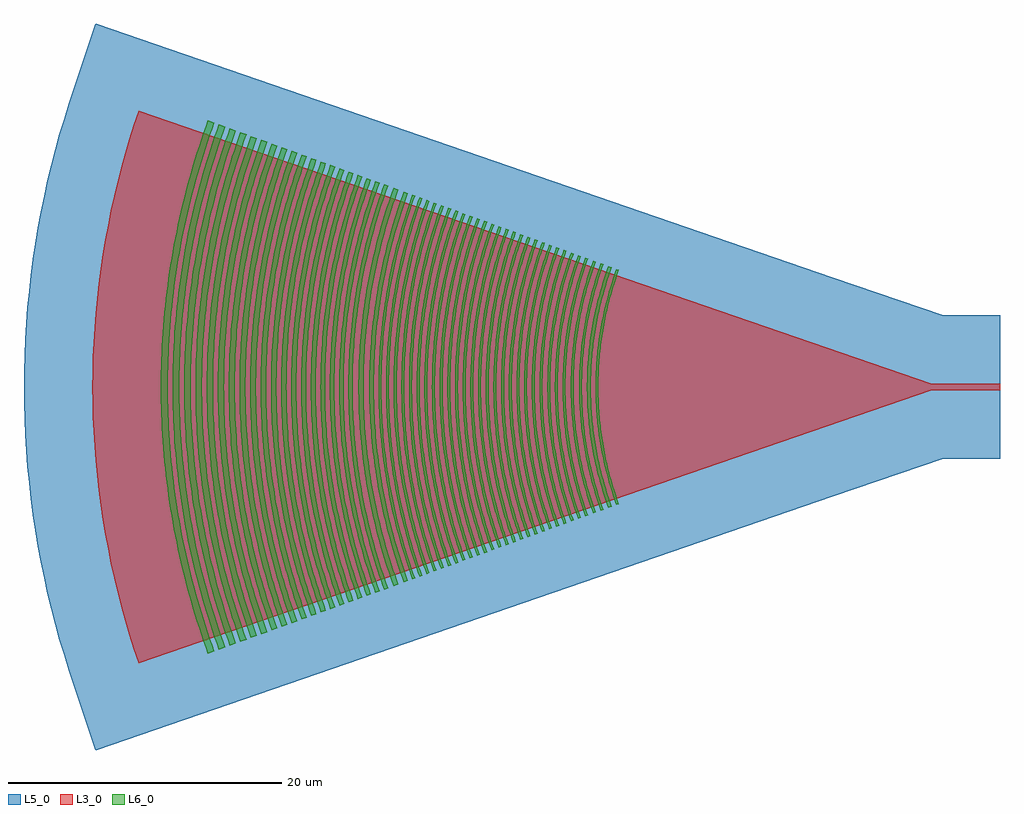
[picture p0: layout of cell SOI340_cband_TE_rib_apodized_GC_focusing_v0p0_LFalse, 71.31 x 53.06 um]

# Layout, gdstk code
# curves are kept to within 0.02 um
import gdstk
lib = gdstk.Library(unit=1e-6, precision=1e-09)
def P(c, l, *ps):  # polygons
    for p in ps: c.add(gdstk.Polygon(p, *l))
L3_0 = (3, 0)
L5_0 = (5, 0)
L6_0 = (6, 0)

soi340_cband_te_rib_apod = lib.new_cell('SOI340_cband_TE_rib_apodized_GC_focusing_v0p0_LFalse')
P(soi340_cband_te_rib_apod, L3_0, [(-62.933,-20.173),(-63.602,-18.116),(-64.198,-16.037),(-64.955,-12.883),(-65.368,-10.76),(-65.706,-8.623),(-66.073,-5.4),(-66.224,-3.243),(-66.309,0),(-66.224,3.243),(-66.073,5.4),(-65.847,7.551),(-65.368,10.76),(-64.955,12.883),(-64.198,16.037),(-63.602,18.116),(-62.933,20.173),(-5,0.225),(0,0.225),(0,-0.225),(-5,-0.225)])
P(soi340_cband_te_rib_apod, L5_0, [(-66.033,-26.528),(-66.09,-26.5),(-68.031,-20.693),(-68.716,-18.457),(-69.028,-17.33),(-69.593,-15.064),(-70.079,-12.778),(-70.292,-11.627),(-70.658,-9.319),(-70.943,-7),(-71.146,-4.671),(-71.217,-3.504),(-71.299,-1.169),(-71.309,0),(-71.299,1.169),(-71.217,3.504),(-71.146,4.671),(-70.943,7),(-70.658,9.319),(-70.485,10.474),(-70.079,12.778),(-69.593,15.064),(-69.028,17.33),(-68.716,18.457),(-68.031,20.693),(-66.09,26.5),(-66.033,26.528),(-4.163,5.225),(0,5.225),(0,-5.225),(-4.163,-5.225)])
P(soi340_cband_te_rib_apod, L6_0, [(-28.027,-8.619),(-28.381,-7.578),(-28.745,-6.31),(-29.164,-4.376),(-29.36,-3.071),(-29.451,-2.196),(-29.523,-1.099),(-29.547,0),(-29.523,1.099),(-29.451,2.196),(-29.36,3.071),(-29.164,4.376),(-28.745,6.31),(-28.381,7.578),(-28.027,8.619),(-27.839,8.551),(-28.255,7.309),(-28.551,6.26),(-28.801,5.198),(-29.039,3.911),(-29.27,1.961),(-29.347,0),(-29.27,-1.961),(-29.039,-3.911),(-28.801,-5.198),(-28.551,-6.26),(-28.255,-7.309),(-27.839,-8.551)],
  [(-28.621,-8.834),(-29.05,-7.553),(-29.298,-6.685),(-29.614,-5.371),(-29.786,-4.486),(-29.957,-3.372),(-30.08,-2.252),(-30.154,-1.126),(-30.178,0),(-30.154,1.126),(-30.08,2.252),(-29.957,3.372),(-29.786,4.486),(-29.614,5.371),(-29.298,6.685),(-29.05,7.553),(-28.621,8.834),(-28.356,8.739),(-28.714,7.683),(-29.026,6.613),(-29.291,5.53),(-29.509,4.437),(-29.678,3.335),(-29.8,2.227),(-29.873,1.114),(-29.897,0),(-29.873,-1.114),(-29.8,-2.227),(-29.678,-3.335),(-29.509,-4.437),(-29.291,-5.53),(-29.026,-6.613),(-28.714,-7.683),(-28.356,-8.739)],
  [(-29.157,-9.029),(-29.527,-7.939),(-29.849,-6.834),(-30.123,-5.714),(-30.348,-4.585),(-30.523,-3.446),(-30.648,-2.302),(-30.724,-1.152),(-30.749,0),(-30.724,1.152),(-30.648,2.302),(-30.523,3.446),(-30.348,4.585),(-30.123,5.714),(-29.849,6.834),(-29.527,7.939),(-29.157,9.029),(-28.969,8.962),(-29.404,7.661),(-29.771,6.339),(-30.068,5),(-30.261,3.873),(-30.381,2.966),(-30.485,1.828),(-30.549,0),(-30.485,-1.828),(-30.381,-2.966),(-30.261,-3.873),(-30.068,-5),(-29.771,-6.339),(-29.404,-7.661),(-28.969,-8.962)],
  [(-29.727,-9.237),(-30.106,-8.122),(-30.436,-6.991),(-30.716,-5.846),(-30.946,-4.69),(-31.125,-3.525),(-31.253,-2.354),(-31.33,-1.178),(-31.356,0),(-31.33,1.178),(-31.253,2.354),(-31.125,3.525),(-30.946,4.69),(-30.716,5.846),(-30.436,6.991),(-30.106,8.122),(-29.727,9.237),(-29.539,9.169),(-29.985,7.838),(-30.36,6.486),(-30.618,5.345),(-30.862,3.963),(-30.984,3.035),(-31.091,1.87),(-31.156,0),(-31.091,-1.87),(-30.984,-3.035),(-30.862,-3.963),(-30.618,-5.345),(-30.36,-6.486),(-29.985,-7.838),(-29.539,-9.169)],
  [(-30.287,-9.441),(-30.675,-8.301),(-31.011,-7.145),(-31.245,-6.21),(-31.533,-4.794),(-31.716,-3.603),(-31.847,-2.407),(-31.926,-1.204),(-31.952,0),(-31.926,1.204),(-31.847,2.407),(-31.716,3.603),(-31.533,4.794),(-31.245,6.21),(-31.011,7.145),(-30.675,8.301),(-30.287,9.441),(-30.099,9.373),(-30.484,8.241),(-30.879,6.862),(-31.202,5.464),(-31.415,4.287),(-31.548,3.34),(-31.668,2.15),(-31.726,1.195),(-31.752,0),(-31.726,-1.195),(-31.668,-2.15),(-31.548,-3.34),(-31.415,-4.287),(-31.202,-5.464),(-30.879,-6.862),(-30.484,-8.241),(-30.099,-9.373)],
  [(-30.815,-9.633),(-31.211,-8.47),(-31.554,-7.29),(-31.899,-5.857),(-32.086,-4.89),(-32.273,-3.676),(-32.407,-2.455),(-32.487,-1.229),(-32.514,0),(-32.487,1.229),(-32.407,2.455),(-32.273,3.676),(-32.086,4.89),(-31.899,5.857),(-31.554,7.29),(-31.211,8.47),(-30.815,9.633),(-30.627,9.565),(-31.02,8.41),(-31.423,7.002),(-31.753,5.576),(-31.97,4.375),(-32.106,3.408),(-32.228,2.194),(-32.297,0.976),(-32.314,0),(-32.297,-0.976),(-32.228,-2.194),(-32.106,-3.408),(-31.97,-4.375),(-31.753,-5.576),(-31.423,-7.002),(-31.02,-8.41),(-30.627,-9.565)],
  [(-31.332,-9.821),(-31.735,-8.635),(-32.085,-7.433),(-32.383,-6.215),(-32.628,-4.987),(-32.818,-3.748),(-32.954,-2.502),(-33.037,-1.253),(-33.064,0),(-33.037,1.253),(-32.954,2.502),(-32.818,3.748),(-32.628,4.987),(-32.383,6.215),(-32.085,7.433),(-31.735,8.635),(-31.332,9.821),(-31.144,9.753),(-31.618,8.338),(-31.956,7.14),(-32.292,5.685),(-32.513,4.461),(-32.681,3.228),(-32.776,2.237),(-32.847,0.995),(-32.864,0),(-32.847,-0.995),(-32.776,-2.237),(-32.681,-3.228),(-32.513,-4.461),(-32.292,-5.685),(-31.956,-7.14),(-31.618,-8.338),(-31.144,-9.753)],
  [(-31.869,-10.017),(-32.28,-8.807),(-32.637,-7.581),(-32.94,-6.339),(-33.19,-5.086),(-33.384,-3.823),(-33.523,-2.552),(-33.607,-1.278),(-33.635,0),(-33.607,1.278),(-33.523,2.552),(-33.384,3.823),(-33.19,5.086),(-32.94,6.339),(-32.637,7.581),(-32.28,8.807),(-31.869,10.017),(-31.681,9.949),(-32.089,8.747),(-32.508,7.283),(-32.851,5.799),(-33.077,4.55),(-33.248,3.293),(-33.345,2.282),(-33.407,1.269),(-33.435,0),(-33.407,-1.269),(-33.345,-2.282),(-33.248,-3.293),(-33.077,-4.55),(-32.851,-5.799),(-32.508,-7.283),(-32.089,-8.747),(-31.681,-9.949)],
  [(-32.409,-10.213),(-32.827,-8.979),(-33.192,-7.729),(-33.501,-6.464),(-33.755,-5.186),(-33.953,-3.898),(-34.095,-2.603),(-34.181,-1.303),(-34.209,0),(-34.181,1.303),(-34.095,2.603),(-33.953,3.898),(-33.755,5.186),(-33.501,6.464),(-33.192,7.729),(-32.827,8.979),(-32.409,10.213),(-32.214,10.143),(-32.706,8.67),(-33.057,7.425),(-33.407,5.912),(-33.637,4.639),(-33.781,3.614),(-33.911,2.327),(-33.974,1.294),(-34.002,0),(-33.974,-1.294),(-33.911,-2.327),(-33.781,-3.614),(-33.637,-4.639),(-33.407,-5.912),(-33.057,-7.425),(-32.706,-8.67),(-32.214,-10.143)],
  [(-32.933,-10.404),(-33.359,-9.147),(-33.73,-7.874),(-34.046,-6.585),(-34.305,-5.283),(-34.506,-3.971),(-34.651,-2.651),(-34.738,-1.327),(-34.767,0),(-34.738,1.327),(-34.651,2.651),(-34.506,3.971),(-34.305,5.283),(-34.046,6.585),(-33.73,7.874),(-33.359,9.147),(-32.933,10.404),(-32.745,10.336),(-33.247,8.835),(-33.604,7.566),(-33.907,6.283),(-34.195,4.727),(-34.342,3.683),(-34.474,2.371),(-34.549,1.055),(-34.567,0),(-34.549,-1.055),(-34.474,-2.371),(-34.342,-3.683),(-34.195,-4.727),(-33.907,-6.283),(-33.604,-7.566),(-33.247,-8.835),(-32.745,-10.336)],
  [(-33.45,-10.592),(-33.885,-9.313),(-34.263,-8.016),(-34.584,-6.704),(-34.848,-5.378),(-35.053,-4.042),(-35.2,-2.7),(-35.289,-1.351),(-35.318,0),(-35.289,1.351),(-35.2,2.7),(-35.053,4.042),(-34.848,5.378),(-34.584,6.704),(-34.263,8.016),(-33.885,9.313),(-33.45,10.592),(-33.261,10.524),(-33.693,9.253),(-34.137,7.704),(-34.445,6.397),(-34.738,4.813),(-34.888,3.75),(-35.022,2.414),(-35.088,1.342),(-35.117,0),(-35.088,-1.342),(-35.022,-2.414),(-34.888,-3.75),(-34.738,-4.813),(-34.445,-6.397),(-34.137,-7.704),(-33.693,-9.253),(-33.261,-10.524)],
  [(-33.983,-10.785),(-34.425,-9.483),(-34.811,-8.162),(-35.138,-6.826),(-35.406,-5.476),(-35.615,-4.117),(-35.765,-2.749),(-35.855,-1.376),(-35.885,0),(-35.855,1.376),(-35.765,2.749),(-35.615,4.117),(-35.406,5.476),(-35.138,6.826),(-34.811,8.162),(-34.425,9.483),(-33.983,10.785),(-33.779,10.712),(-34.218,9.418),(-34.67,7.842),(-34.984,6.512),(-35.282,4.9),(-35.435,3.817),(-35.571,2.457),(-35.649,1.093),(-35.668,0),(-35.649,-1.093),(-35.571,-2.457),(-35.435,-3.817),(-35.282,-4.9),(-34.984,-6.512),(-34.67,-7.842),(-34.218,-9.418),(-33.779,-10.712)],
  [(-34.513,-10.978),(-34.963,-9.654),(-35.355,-8.308),(-35.688,-6.948),(-35.962,-5.574),(-36.174,-4.19),(-36.327,-2.798),(-36.419,-1.401),(-36.449,0),(-36.419,1.401),(-36.327,2.798),(-36.174,4.19),(-35.962,5.574),(-35.688,6.948),(-35.355,8.308),(-34.963,9.654),(-34.513,10.978),(-34.312,10.906),(-34.842,9.323),(-35.219,7.984),(-35.595,6.357),(-35.842,4.988),(-36.03,3.61),(-36.137,2.502),(-36.216,1.113),(-36.235,0),(-36.216,-1.113),(-36.137,-2.502),(-36.03,-3.61),(-35.842,-4.988),(-35.595,-6.357),(-35.219,-7.984),(-34.842,-9.323),(-34.312,-10.906)],
  [(-35.04,-11.171),(-35.498,-9.822),(-35.897,-8.453),(-36.236,-7.07),(-36.514,-5.671),(-36.73,-4.264),(-36.886,-2.846),(-36.979,-1.425),(-37.01,0),(-36.979,1.425),(-36.886,2.846),(-36.73,4.264),(-36.514,5.671),(-36.236,7.07),(-35.897,8.453),(-35.498,9.822),(-35.04,11.171),(-34.842,11.099),(-35.297,9.759),(-35.765,8.125),(-36.148,6.47),(-36.399,5.077),(-36.557,3.955),(-36.699,2.546),(-36.768,1.416),(-36.799,0),(-36.768,-1.416),(-36.699,-2.546),(-36.557,-3.955),(-36.399,-5.077),(-36.148,-6.47),(-35.765,-8.125),(-35.297,-9.759),(-34.842,-11.099)],
  [(-35.571,-11.363),(-36.037,-9.992),(-36.443,-8.6),(-36.787,-7.192),(-37.07,-5.77),(-37.291,-4.337),(-37.448,-2.896),(-37.544,-1.449),(-37.575,0),(-37.544,1.449),(-37.448,2.896),(-37.291,4.337),(-37.07,5.77),(-36.787,7.192),(-36.443,8.6),(-36.037,9.992),(-35.571,11.363),(-35.369,11.291),(-35.832,9.927),(-36.308,8.266),(-36.639,6.864),(-36.954,5.164),(-37.148,3.737),(-37.258,2.59),(-37.329,1.44),(-37.36,0),(-37.329,-1.44),(-37.258,-2.59),(-37.148,-3.737),(-36.954,-5.164),(-36.639,-6.864),(-36.308,-8.266),(-35.832,-9.927),(-35.369,-11.291)],
  [(-36.093,-11.553),(-36.567,-10.159),(-36.979,-8.744),(-37.329,-7.312),(-37.617,-5.866),(-37.841,-4.41),(-38.001,-2.945),(-38.098,-1.474),(-38.13,0),(-38.098,1.474),(-38.001,2.945),(-37.841,4.41),(-37.617,5.866),(-37.329,7.312),(-36.979,8.744),(-36.567,10.159),(-36.093,11.553),(-35.9,11.484),(-36.458,9.817),(-36.855,8.407),(-37.251,6.694),(-37.512,5.253),(-37.675,4.092),(-37.821,2.634),(-37.905,1.172),(-37.925,0),(-37.905,-1.172),(-37.821,-2.634),(-37.675,-4.092),(-37.512,-5.253),(-37.251,-6.694),(-36.855,-8.407),(-36.458,-9.817),(-35.9,-11.484)],
  [(-36.624,-11.746),(-37.104,-10.329),(-37.524,-8.889),(-37.88,-7.434),(-38.172,-5.964),(-38.4,-4.483),(-38.563,-2.994),(-38.662,-1.498),(-38.694,0),(-38.662,1.498),(-38.563,2.994),(-38.4,4.483),(-38.172,5.964),(-37.88,7.434),(-37.524,8.889),(-37.104,10.329),(-36.624,11.746),(-36.422,11.674),(-36.989,9.98),(-37.393,8.546),(-37.795,6.805),(-38.06,5.34),(-38.226,4.16),(-38.375,2.678),(-38.448,1.489),(-38.48,0),(-38.448,-1.489),(-38.375,-2.678),(-38.226,-4.16),(-38.06,-5.34),(-37.795,-6.805),(-37.393,-8.546),(-36.989,-9.98),(-36.422,-11.674)],
  [(-37.15,-11.938),(-37.638,-10.497),(-38.065,-9.034),(-38.427,-7.555),(-38.724,-6.061),(-38.955,-4.556),(-39.121,-3.042),(-39.221,-1.522),(-39.254,0),(-39.221,1.522),(-39.121,3.042),(-38.955,4.556),(-38.724,6.061),(-38.427,7.555),(-38.065,9.034),(-37.638,10.497),(-37.15,11.938),(-36.952,11.867),(-37.438,10.434),(-37.939,8.687),(-38.286,7.214),(-38.617,5.428),(-38.821,3.928),(-38.937,2.722),(-39.023,1.211),(-39.044,0),(-39.023,-1.211),(-38.937,-2.722),(-38.821,-3.928),(-38.617,-5.428),(-38.286,-7.214),(-37.939,-8.687),(-37.438,-10.434),(-36.952,-11.867)],
  [(-37.678,-12.131),(-38.175,-10.666),(-38.609,-9.18),(-38.976,-7.677),(-39.278,-6.159),(-39.513,-4.63),(-39.682,-3.091),(-39.783,-1.547),(-39.817,0),(-39.783,1.547),(-39.682,3.091),(-39.513,4.63),(-39.278,6.159),(-38.976,7.677),(-38.609,9.18),(-38.175,10.666),(-37.678,12.131),(-37.478,12.059),(-37.972,10.602),(-38.481,8.828),(-38.834,7.33),(-39.17,5.515),(-39.341,4.297),(-39.495,2.766),(-39.583,1.23),(-39.604,0),(-39.583,-1.23),(-39.495,-2.766),(-39.341,-4.297),(-39.17,-5.515),(-38.834,-7.33),(-38.481,-8.828),(-37.972,-10.602),(-37.478,-12.059)],
  [(-38.206,-12.322),(-38.71,-10.834),(-39.15,-9.326),(-39.524,-7.799),(-39.831,-6.257),(-40.07,-4.703),(-40.241,-3.141),(-40.344,-1.571),(-40.378,0),(-40.344,1.571),(-40.241,3.141),(-40.07,4.703),(-39.831,6.257),(-39.524,7.799),(-39.15,9.326),(-38.71,10.834),(-38.206,12.322),(-38.007,12.251),(-38.602,10.473),(-39.026,8.969),(-39.448,7.141),(-39.726,5.603),(-39.937,4.055),(-40.057,2.81),(-40.133,1.562),(-40.167,0),(-40.133,-1.562),(-40.057,-2.81),(-39.937,-4.055),(-39.726,-5.603),(-39.448,-7.141),(-39.026,-8.969),(-38.602,-10.473),(-38.007,-12.251)],
  [(-38.732,-12.514),(-39.244,-11.003),(-39.691,-9.47),(-40.071,-7.919),(-40.382,-6.353),(-40.625,-4.776),(-40.799,-3.189),(-40.903,-1.596),(-40.938,0),(-40.903,1.596),(-40.799,3.189),(-40.625,4.776),(-40.382,6.353),(-40.071,7.919),(-39.691,9.47),(-39.244,11.003),(-38.732,12.514),(-38.534,12.443),(-39.044,10.94),(-39.569,9.109),(-39.998,7.253),(-40.28,5.691),(-40.457,4.434),(-40.616,2.854),(-40.706,1.27),(-40.728,0),(-40.706,-1.27),(-40.616,-2.854),(-40.457,-4.434),(-40.28,-5.691),(-39.998,-7.253),(-39.569,-9.109),(-39.044,-10.94),(-38.534,-12.443)],
  [(-39.26,-12.707),(-39.78,-11.172),(-40.234,-9.616),(-40.619,-8.041),(-40.936,-6.452),(-41.182,-4.85),(-41.358,-3.238),(-41.465,-1.62),(-41.5,0),(-41.465,1.62),(-41.358,3.238),(-41.182,4.85),(-40.936,6.452),(-40.619,8.041),(-40.234,9.616),(-39.78,11.172),(-39.26,12.707),(-39.06,12.635),(-39.674,10.801),(-40.111,9.249),(-40.481,7.68),(-40.833,5.779),(-41.051,4.182),(-41.174,2.898),(-41.253,1.611),(-41.288,0),(-41.253,-1.611),(-41.174,-2.898),(-41.051,-4.182),(-40.833,-5.779),(-40.481,-7.68),(-40.111,-9.249),(-39.674,-10.801),(-39.06,-12.635)],
  [(-39.782,-12.897),(-40.31,-11.339),(-40.771,-9.759),(-41.162,-8.161),(-41.483,-6.548),(-41.733,-4.922),(-41.912,-3.287),(-42.02,-1.645),(-42.056,0),(-42.02,1.645),(-41.912,3.287),(-41.733,4.922),(-41.483,6.548),(-41.162,8.161),(-40.771,9.759),(-40.31,11.339),(-39.782,12.897),(-39.588,12.827),(-40.211,10.965),(-40.655,9.39),(-41.097,7.477),(-41.388,5.867),(-41.609,4.245),(-41.734,2.942),(-41.827,1.309),(-41.85,0),(-41.827,-1.309),(-41.734,-2.942),(-41.609,-4.245),(-41.388,-5.867),(-41.097,-7.477),(-40.655,-9.39),(-40.211,-10.965),(-39.588,-12.827)],
  [(-40.308,-13.087),(-40.844,-11.508),(-41.311,-9.904),(-41.708,-8.282),(-42.034,-6.645),(-42.287,-4.995),(-42.469,-3.335),(-42.579,-1.669),(-42.615,0),(-42.579,1.669),(-42.469,3.335),(-42.287,4.995),(-42.034,6.645),(-41.708,8.282),(-41.311,9.904),(-40.844,11.508),(-40.308,13.087),(-40.111,13.017),(-40.645,11.445),(-41.194,9.529),(-41.642,7.588),(-41.937,5.954),(-42.122,4.638),(-42.289,2.986),(-42.37,1.66),(-42.406,0),(-42.37,-1.66),(-42.289,-2.986),(-42.122,-4.638),(-41.937,-5.954),(-41.642,-7.588),(-41.194,-9.529),(-40.645,-11.445),(-40.111,-13.017)],
  [(-40.837,-13.28),(-41.382,-11.677),(-41.856,-10.051),(-42.259,-8.404),(-42.589,-6.743),(-42.847,-5.069),(-43.031,-3.385),(-43.142,-1.693),(-43.179,0),(-43.142,1.693),(-43.031,3.385),(-42.847,5.069),(-42.589,6.743),(-42.259,8.404),(-41.856,10.051),(-41.382,11.677),(-40.837,13.28),(-40.636,13.208),(-41.278,11.291),(-41.735,9.669),(-42.19,7.699),(-42.49,6.041),(-42.717,4.372),(-42.846,3.03),(-42.928,1.684),(-42.965,0),(-42.928,-1.684),(-42.846,-3.03),(-42.717,-4.372),(-42.49,-6.041),(-42.19,-7.699),(-41.735,-9.669),(-41.278,-11.291),(-40.636,-13.208)],
  [(-41.354,-13.469),(-41.907,-11.842),(-42.387,-10.193),(-42.795,-8.524),(-43.131,-6.839),(-43.392,-5.14),(-43.579,-3.432),(-43.692,-1.718),(-43.729,0),(-43.692,1.718),(-43.579,3.432),(-43.392,5.14),(-43.131,6.839),(-42.795,8.524),(-42.387,10.193),(-41.907,11.842),(-41.354,13.469),(-41.166,13.401),(-41.716,11.782),(-42.281,9.81),(-42.673,8.146),(-43.047,6.129),(-43.237,4.775),(-43.408,3.074),(-43.492,1.709),(-43.529,0),(-43.492,-1.709),(-43.408,-3.074),(-43.237,-4.775),(-43.047,-6.129),(-42.673,-8.146),(-42.281,-9.81),(-41.716,-11.782),(-41.166,-13.401)],
  [(-41.892,-13.664),(-42.452,-12.015),(-42.939,-10.34),(-43.354,-8.648),(-43.694,-6.937),(-43.959,-5.215),(-44.149,-3.483),(-44.263,-1.743),(-44.301,0),(-44.263,1.743),(-44.149,3.483),(-43.959,5.215),(-43.694,6.937),(-43.354,8.648),(-42.939,10.34),(-42.452,12.015),(-41.892,13.664),(-41.683,13.589),(-42.343,11.617),(-42.813,9.948),(-43.211,8.261),(-43.59,6.215),(-43.824,4.498),(-43.957,3.117),(-44.055,1.387),(-44.079,0),(-44.055,-1.387),(-43.957,-3.117),(-43.824,-4.498),(-43.59,-6.215),(-43.211,-8.261),(-42.813,-9.948),(-42.343,-11.617),(-41.683,-13.589)],
  [(-42.408,-13.853),(-42.977,-12.18),(-43.471,-10.483),(-43.891,-8.766),(-44.236,-7.034),(-44.504,-5.287),(-44.697,-3.531),(-44.813,-1.767),(-44.851,0),(-44.813,1.767),(-44.697,3.531),(-44.504,5.287),(-44.236,7.034),(-43.891,8.766),(-43.471,10.483),(-42.977,12.18),(-42.408,13.853),(-42.22,13.785),(-42.786,12.12),(-43.367,10.091),(-43.842,8.035),(-44.155,6.305),(-44.351,4.912),(-44.527,3.162),(-44.613,1.758),(-44.651,0),(-44.613,-1.758),(-44.527,-3.162),(-44.351,-4.912),(-44.155,-6.305),(-43.842,-8.035),(-43.367,-10.091),(-42.786,-12.12),(-42.22,-13.785)],
  [(-42.925,-14.041),(-43.501,-12.345),(-44.002,-10.626),(-44.428,-8.885),(-44.777,-7.129),(-45.049,-5.359),(-45.245,-3.578),(-45.362,-1.791),(-45.401,0),(-45.362,1.791),(-45.245,3.578),(-45.049,5.359),(-44.777,7.129),(-44.428,8.885),(-44.002,10.626),(-43.501,12.345),(-42.925,14.041),(-42.737,13.973),(-43.416,11.945),(-43.9,10.229),(-44.308,8.494),(-44.641,6.743),(-44.851,5.333),(-45.046,3.561),(-45.162,1.782),(-45.201,0),(-45.162,-1.782),(-45.046,-3.561),(-44.851,-5.333),(-44.641,-6.743),(-44.308,-8.494),(-43.9,-10.229),(-43.416,-11.945),(-42.737,-13.973)],
  [(-43.566,-14.273),(-44.151,-12.549),(-44.66,-10.802),(-45.093,-9.032),(-45.448,-7.247),(-45.725,-5.447),(-45.923,-3.638),(-46.043,-1.821),(-46.082,0),(-46.043,1.821),(-45.923,3.638),(-45.725,5.447),(-45.448,7.247),(-45.093,9.032),(-44.66,10.802),(-44.151,12.549),(-43.566,14.273),(-43.254,14.161),(-43.942,12.105),(-44.521,10.017),(-44.92,8.255),(-45.296,6.12),(-45.485,4.687),(-45.65,2.888),(-45.726,1.445),(-45.751,0),(-45.726,-1.445),(-45.65,-2.888),(-45.485,-4.687),(-45.296,-6.12),(-44.92,-8.255),(-44.521,-10.017),(-43.942,-12.105),(-43.254,-14.161)],
  [(-44.31,-14.543),(-44.906,-12.788),(-45.425,-11.006),(-45.866,-9.204),(-46.228,-7.384),(-46.51,-5.551),(-46.713,-3.707),(-46.834,-1.855),(-46.874,0),(-46.834,1.855),(-46.713,3.707),(-46.51,5.551),(-46.228,7.384),(-45.866,9.204),(-45.425,11.006),(-44.906,12.788),(-44.31,14.543),(-43.956,14.416),(-44.656,12.324),(-45.246,10.197),(-45.724,8.043),(-46.035,6.23),(-46.227,4.772),(-46.368,3.307),(-46.458,1.839),(-46.498,0),(-46.458,-1.839),(-46.368,-3.307),(-46.227,-4.772),(-46.035,-6.23),(-45.724,-8.043),(-45.246,-10.197),(-44.656,-12.324),(-43.956,-14.416)],
  [(-45.005,-14.796),(-45.611,-13.01),(-46.138,-11.198),(-46.588,-9.365),(-46.955,-7.513),(-47.243,-5.647),(-47.449,-3.772),(-47.572,-1.888),(-47.613,0),(-47.572,1.888),(-47.449,3.772),(-47.243,5.647),(-46.955,7.513),(-46.588,9.365),(-46.138,11.198),(-45.611,13.01),(-45.005,14.796),(-44.709,14.69),(-45.311,12.916),(-45.931,10.754),(-46.437,8.563),(-46.77,6.719),(-46.979,5.235),(-47.167,3.37),(-47.273,1.499),(-47.299,0),(-47.273,-1.499),(-47.167,-3.37),(-46.979,-5.235),(-46.77,-6.719),(-46.437,-8.563),(-45.931,-10.754),(-45.311,-12.916),(-44.709,-14.69)],
  [(-45.631,-15.024),(-46.245,-13.211),(-46.782,-11.371),(-47.237,-9.509),(-47.611,-7.629),(-47.903,-5.734),(-48.112,-3.829),(-48.237,-1.917),(-48.279,0),(-48.237,1.917),(-48.112,3.829),(-47.903,5.734),(-47.611,7.629),(-47.237,9.509),(-46.782,11.371),(-46.245,13.211),(-45.631,15.024),(-45.333,14.918),(-45.944,13.116),(-46.574,10.921),(-47.01,9.068),(-47.426,6.823),(-47.683,4.937),(-47.829,3.422),(-47.936,1.522),(-47.963,0),(-47.936,-1.522),(-47.829,-3.422),(-47.683,-4.937),(-47.426,-6.823),(-47.01,-9.068),(-46.574,-10.921),(-45.944,-13.116),(-45.333,-14.918)],
  [(-46.271,-15.258),(-46.896,-13.416),(-47.441,-11.547),(-47.903,-9.656),(-48.283,-7.748),(-48.579,-5.824),(-48.791,-3.888),(-48.919,-1.946),(-48.961,0),(-48.919,1.946),(-48.791,3.888),(-48.579,5.824),(-48.283,7.748),(-47.903,9.656),(-47.441,11.547),(-46.896,13.416),(-46.271,15.258),(-45.964,15.147),(-46.7,12.949),(-47.224,11.089),(-47.746,8.83),(-48.09,6.928),(-48.305,5.397),(-48.498,3.475),(-48.593,1.932),(-48.635,0),(-48.593,-1.932),(-48.498,-3.475),(-48.305,-5.397),(-48.09,-6.928),(-47.746,-8.83),(-47.224,-11.089),(-46.7,-12.949),(-45.964,-15.147)],
  [(-46.915,-15.492),(-47.551,-13.622),(-48.104,-11.724),(-48.573,-9.804),(-48.959,-7.866),(-49.259,-5.913),(-49.475,-3.948),(-49.604,-1.976),(-49.647,0),(-49.604,1.976),(-49.475,3.948),(-49.259,5.913),(-48.959,7.866),(-48.573,9.804),(-48.104,11.724),(-47.551,13.622),(-46.915,15.492),(-46.601,15.379),(-47.232,13.522),(-47.881,11.259),(-48.41,8.965),(-48.759,7.034),(-48.978,5.48),(-49.174,3.528),(-49.286,1.569),(-49.313,0),(-49.286,-1.569),(-49.174,-3.528),(-48.978,-5.48),(-48.759,-7.034),(-48.41,-8.965),(-47.881,-11.259),(-47.232,-13.522),(-46.601,-15.379)],
  [(-47.574,-15.732),(-48.219,-13.832),(-48.781,-11.906),(-49.258,-9.956),(-49.649,-7.988),(-49.954,-6.005),(-50.173,-4.009),(-50.305,-2.006),(-50.348,0),(-50.305,2.006),(-50.173,4.009),(-49.954,6.005),(-49.649,7.988),(-49.258,9.956),(-48.781,11.906),(-48.219,13.832),(-47.574,15.732),(-47.244,15.613),(-47.884,13.727),(-48.543,11.43),(-49.081,9.101),(-49.496,6.747),(-49.704,5.168),(-49.886,3.184),(-49.969,1.593),(-49.997,0),(-49.969,-1.593),(-49.886,-3.184),(-49.704,-5.168),(-49.496,-6.747),(-49.081,-9.101),(-48.543,-11.43),(-47.884,-13.727),(-47.244,-15.613)],
  [(-48.243,-15.974),(-48.897,-14.046),(-49.468,-12.09),(-49.951,-10.11),(-50.35,-8.111),(-50.659,-6.097),(-50.882,-4.071),(-51.015,-2.038),(-51.059,0),(-51.015,2.038),(-50.882,4.071),(-50.659,6.097),(-50.35,8.111),(-49.951,10.11),(-49.468,12.09),(-48.897,14.046),(-48.243,15.974),(-47.904,15.853),(-48.674,13.552),(-49.223,11.606),(-49.768,9.241),(-50.19,6.851),(-50.401,5.247),(-50.556,3.637),(-50.671,1.618),(-50.699,0),(-50.671,-1.618),(-50.556,-3.637),(-50.401,-5.247),(-50.19,-6.851),(-49.768,-9.241),(-49.223,-11.606),(-48.674,-13.552),(-47.904,-15.853)],
  [(-48.921,-16.222),(-49.586,-14.264),(-50.164,-12.277),(-50.656,-10.267),(-51.06,-8.237),(-51.375,-6.191),(-51.601,-4.135),(-51.736,-2.069),(-51.781,0),(-51.736,2.069),(-51.601,4.135),(-51.375,6.191),(-51.06,8.237),(-50.656,10.267),(-50.164,12.277),(-49.586,14.264),(-48.921,16.222),(-48.571,16.096),(-49.353,13.76),(-49.91,11.783),(-50.381,9.785),(-50.83,7.362),(-51.058,5.735),(-51.264,3.692),(-51.364,2.053),(-51.409,0),(-51.364,-2.053),(-51.264,-3.692),(-51.058,-5.735),(-50.83,-7.362),(-50.381,-9.785),(-49.91,-11.783),(-49.353,-13.76),(-48.571,-16.096)],
  [(-49.61,-16.473),(-50.285,-14.485),(-50.874,-12.466),(-51.373,-10.425),(-51.783,-8.365),(-52.103,-6.287),(-52.332,-4.199),(-52.47,-2.101),(-52.515,0),(-52.47,2.101),(-52.332,4.199),(-52.103,6.287),(-51.783,8.365),(-51.373,10.425),(-50.874,12.466),(-50.285,14.485),(-49.61,16.473),(-49.249,16.343),(-50.043,13.971),(-50.609,11.964),(-51.172,9.527),(-51.543,7.475),(-51.775,5.823),(-51.984,3.749),(-52.086,2.084),(-52.131,0),(-52.086,-2.084),(-51.984,-3.749),(-51.824,-5.409),(-51.543,-7.475),(-51.172,-9.527),(-50.609,-11.964),(-50.043,-13.971),(-49.249,-16.343)],
  [(-50.311,-16.728),(-50.996,-14.709),(-51.593,-12.66),(-52.101,-10.587),(-52.517,-8.494),(-52.842,-6.384),(-53.074,-4.263),(-53.214,-2.133),(-53.26,0),(-53.214,2.133),(-53.074,4.263),(-52.842,6.384),(-52.517,8.494),(-52.101,10.587),(-51.593,12.66),(-50.996,14.709),(-50.311,16.728),(-49.939,16.594),(-50.745,14.185),(-51.32,12.148),(-51.891,9.673),(-52.332,7.171),(-52.553,5.492),(-52.747,3.384),(-52.835,1.693),(-52.865,0),(-52.835,-1.693),(-52.747,-3.384),(-52.553,-5.492),(-52.332,-7.171),(-51.891,-9.673),(-51.32,-12.148),(-50.745,-14.185),(-49.939,-16.594)],
  [(-51.021,-16.986),(-51.717,-14.936),(-52.323,-12.855),(-52.838,-10.751),(-53.262,-8.625),(-53.592,-6.483),(-53.827,-4.329),(-53.969,-2.167),(-54.016,0),(-53.969,2.167),(-53.827,4.329),(-53.592,6.483),(-53.262,8.625),(-52.838,10.751),(-52.323,12.855),(-51.717,14.936),(-51.021,16.986),(-50.64,16.849),(-51.458,14.403),(-52.148,11.918),(-52.706,9.4),(-53.07,7.282),(-53.341,5.149),(-53.491,3.436),(-53.581,1.719),(-53.611,0),(-53.581,-1.719),(-53.491,-3.436),(-53.341,-5.149),(-53.07,-7.282),(-52.706,-9.4),(-52.148,-11.918),(-51.458,-14.403),(-50.64,-16.849)],
  [(-51.74,-17.249),(-52.448,-15.166),(-53.064,-13.054),(-53.586,-10.916),(-54.016,-8.758),(-54.35,-6.583),(-54.59,-4.395),(-54.734,-2.201),(-54.782,0),(-54.734,2.201),(-54.59,4.395),(-54.35,6.583),(-54.016,8.758),(-53.586,10.916),(-53.064,13.054),(-52.448,15.166),(-51.74,17.249),(-51.349,17.108),(-52.051,15.041),(-52.773,12.524),(-53.362,9.972),(-53.817,7.393),(-54.044,5.662),(-54.212,3.924),(-54.336,1.746),(-54.366,0),(-54.336,-1.746),(-54.212,-3.924),(-54.044,-5.662),(-53.817,-7.393),(-53.362,-9.972),(-52.773,-12.524),(-52.051,-15.041),(-51.349,-17.108)],
  [(-52.471,-17.514),(-53.189,-15.4),(-53.815,-13.254),(-54.345,-11.085),(-54.781,-8.893),(-55.121,-6.684),(-55.364,-4.463),(-55.511,-2.234),(-55.559,0),(-55.511,2.234),(-55.364,4.463),(-55.121,6.684),(-54.781,8.893),(-54.345,11.085),(-53.815,13.254),(-53.189,15.4),(-52.471,17.514),(-52.069,17.369),(-52.782,15.271),(-53.514,12.716),(-54.112,10.125),(-54.574,7.507),(-54.806,5.749),(-55.008,3.543),(-55.101,1.772),(-55.132,0),(-55.101,-1.772),(-55.008,-3.543),(-54.806,-5.749),(-54.574,-7.507),(-54.112,-10.125),(-53.514,-12.716),(-52.782,-15.271),(-52.069,-17.369)],
  [(-53.211,-17.783),(-53.941,-15.637),(-54.575,-13.458),(-55.115,-11.255),(-55.557,-9.03),(-55.902,-6.787),(-56.149,-4.532),(-56.298,-2.268),(-56.347,0),(-56.298,2.268),(-56.149,4.532),(-55.902,6.787),(-55.557,9.03),(-55.115,11.255),(-54.575,13.458),(-53.941,15.637),(-53.211,17.783),(-52.799,17.635),(-53.523,15.505),(-54.267,12.91),(-54.874,10.28),(-55.343,7.621),(-55.578,5.837),(-55.75,4.046),(-55.878,1.799),(-55.909,0),(-55.878,-1.799),(-55.75,-4.046),(-55.578,-5.837),(-55.343,-7.621),(-54.874,-10.28),(-54.267,-12.91),(-53.523,-15.505),(-52.799,-17.635)],
  [(-53.963,-18.056),(-54.702,-15.877),(-55.347,-13.665),(-55.894,-11.428),(-56.344,-9.168),(-56.694,-6.891),(-56.945,-4.602),(-57.096,-2.303),(-57.146,0),(-57.096,2.303),(-56.945,4.602),(-56.694,6.891),(-56.344,9.168),(-55.894,11.428),(-55.347,13.665),(-54.702,15.877),(-53.963,18.056),(-53.54,17.905),(-54.41,15.306),(-55.03,13.107),(-55.646,10.437),(-56.122,7.738),(-56.36,5.926),(-56.536,4.107),(-56.665,1.827),(-56.697,0),(-56.665,-1.827),(-56.536,-4.107),(-56.36,-5.926),(-56.122,-7.738),(-55.646,-10.437),(-55.03,-13.107),(-54.41,-15.306),(-53.54,-17.905)],
  [(-54.724,-18.333),(-55.475,-16.12),(-56.129,-13.875),(-56.685,-11.604),(-57.142,-9.309),(-57.497,-6.997),(-57.752,-4.672),(-57.905,-2.338),(-57.956,0),(-57.905,2.338),(-57.752,4.672),(-57.497,6.997),(-57.142,9.309),(-56.685,11.604),(-56.129,13.875),(-55.475,16.12),(-54.724,18.333),(-54.291,18.178),(-55.174,15.539),(-55.803,13.307),(-56.429,10.596),(-56.912,7.856),(-57.205,5.556),(-57.367,3.707),(-57.464,1.855),(-57.496,0),(-57.464,-1.855),(-57.367,-3.707),(-57.205,-5.556),(-56.912,-7.856),(-56.429,-10.596),(-55.803,-13.307),(-55.174,-15.539),(-54.291,-18.178)],
  [(-55.495,-18.614),(-56.258,-16.368),(-56.922,-14.088),(-57.487,-11.781),(-57.95,-9.452),(-58.311,-7.104),(-58.57,-4.744),(-58.726,-2.375),(-58.777,0),(-58.726,2.375),(-58.57,4.744),(-58.311,7.104),(-57.95,9.452),(-57.487,11.781),(-56.922,14.088),(-56.258,16.368),(-55.495,18.614),(-55.052,18.455),(-55.948,15.776),(-56.703,13.054),(-57.315,10.296),(-57.713,7.976),(-57.959,6.108),(-58.175,3.764),(-58.273,1.883),(-58.306,0),(-58.273,-1.883),(-58.175,-3.764),(-57.959,-6.108),(-57.713,-7.976),(-57.315,-10.296),(-56.703,-13.054),(-55.948,-15.776),(-55.052,-18.455)],
  [(-56.277,-18.899),(-57.052,-16.618),(-57.726,-14.303),(-58.299,-11.961),(-58.77,-9.596),(-59.136,-7.213),(-59.399,-4.816),(-59.557,-2.41),(-59.609,0),(-59.557,2.41),(-59.399,4.816),(-59.136,7.213),(-58.77,9.596),(-58.299,11.961),(-57.726,14.303),(-57.052,16.618),(-56.277,18.899),(-55.823,18.736),(-56.733,16.016),(-57.5,13.252),(-58.121,10.453),(-58.525,8.097),(-58.775,6.201),(-58.994,3.821),(-59.094,1.912),(-59.127,0),(-59.094,-1.912),(-58.994,-3.821),(-58.775,-6.201),(-58.525,-8.097),(-58.121,-10.453),(-57.5,-13.252),(-56.733,-16.016),(-55.823,-18.736)],
  [(-57.07,-19.187),(-57.856,-16.872),(-58.541,-14.521),(-59.123,-12.144),(-59.601,-9.743),(-59.973,-7.323),(-60.239,-4.89),(-60.4,-2.447),(-60.453,0),(-60.4,2.447),(-60.239,4.89),(-59.973,7.323),(-59.601,9.743),(-59.123,12.144),(-58.541,14.521),(-57.856,16.872),(-57.07,19.187),(-56.605,19.02),(-57.385,16.723),(-58.188,13.924),(-58.843,11.087),(-59.348,8.22),(-59.602,6.295),(-59.824,3.879),(-59.925,1.941),(-59.959,0),(-59.925,-1.941),(-59.824,-3.879),(-59.602,-6.295),(-59.348,-8.22),(-58.843,-11.087),(-58.188,-13.924),(-57.385,-16.723),(-56.605,-19.02)],
  [(-57.874,-19.48),(-58.673,-17.129),(-59.368,-14.743),(-59.959,-12.328),(-60.443,-9.891),(-60.822,-7.435),(-61.092,-4.964),(-61.255,-2.485),(-61.309,0),(-61.255,2.485),(-61.092,4.964),(-60.822,7.435),(-60.443,9.891),(-59.959,12.328),(-59.368,14.743),(-58.673,17.129),(-57.874,19.48),(-57.398,19.309),(-58.19,16.977),(-59.005,14.135),(-59.67,11.256),(-60.183,8.345),(-60.44,6.391),(-60.629,4.429),(-60.769,1.97),(-60.803,0),(-60.769,-1.97),(-60.629,-4.429),(-60.44,-6.391),(-60.183,-8.345),(-59.67,-11.256),(-59.005,-14.135),(-58.19,-16.977),(-57.398,-19.309)])

lib.write_gds('SOI340_cband_TE_rib_apodized_GC_focusing_v0p0_LFalse.gds')
